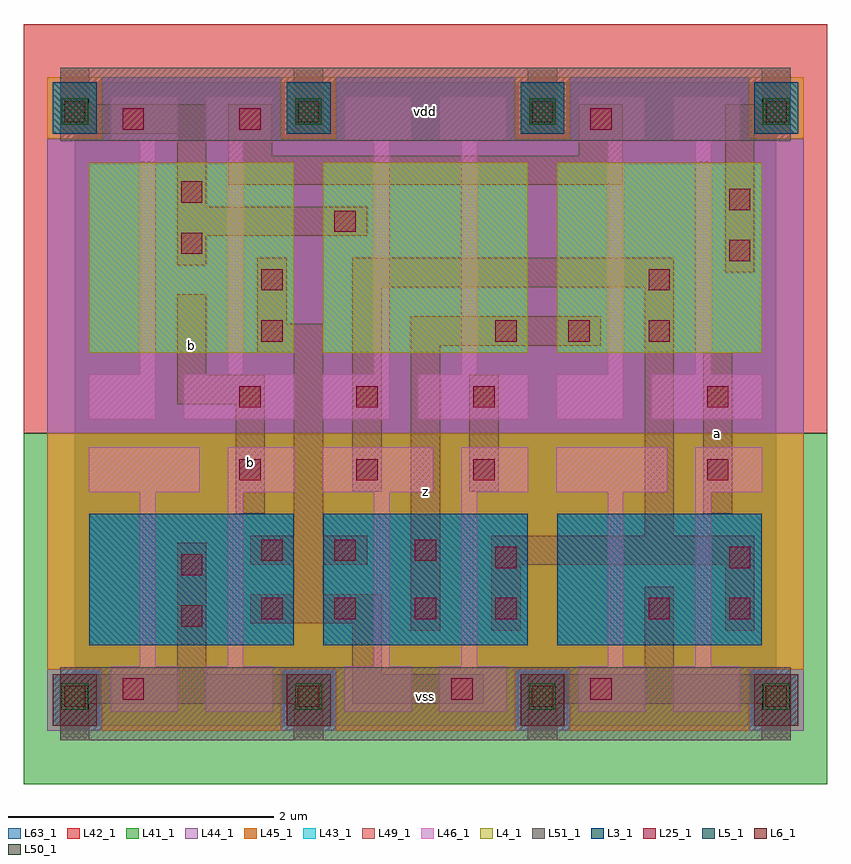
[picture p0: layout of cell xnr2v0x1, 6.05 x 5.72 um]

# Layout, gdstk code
import gdstk
lib = gdstk.Library(unit=1e-6, precision=1e-09)
def R(c, l, rs):  # rectangles x0, y0, x1, y1
    for r in rs: c.add(gdstk.rectangle(r[:2], r[2:], *l))
def A(c, l, x, y, w, h, nx, ny, dx, dy):  # array of equal rectangles
    R(c, l, [(x+i*dx, y+j*dy, x+i*dx+w, y+j*dy+h) for i in range(nx) for j in range(ny)])
L3_1 = (3, 1)
L4_1 = (4, 1)
L5_1 = (5, 1)
L6_1 = (6, 1)
L25_1 = (25, 1)
L41_1 = (41, 1)
L42_1 = (42, 1)
L43_1 = (43, 1)
L44_1 = (44, 1)
L45_1 = (45, 1)
L46_1 = (46, 1)
L49_1 = (49, 1)
L50_1 = (50, 1)
L51_1 = (51, 1)
L63_1 = (63, 1)

xnr2v0x1 = lib.new_cell('xnr2v0x1')
A(xnr2v0x1, L3_1, 0.11, 0.605, 1.54, 0.99, 3, 1, 1.76, 0)
A(xnr2v0x1, L4_1, 0.11, 2.805, 1.54, 1.43, 3, 1, 1.76, 0)
A(xnr2v0x1, L5_1, -0.165, 4.455, 0.33, 0.385, 4, 1, 1.76, 0)
A(xnr2v0x1, L6_1, -0.165, 0, 0.33, 0.385, 4, 1, 1.76, 0)
A(xnr2v0x1, L25_1, -0.08, 0.14, 0.16, 0.16, 4, 2, 1.76, 4.4)
A(xnr2v0x1, L25_1, 1.955, 0.8, 0.16, 0.16, 3, 1, 0.605, 0)
A(xnr2v0x1, L25_1, 1.24, 1.845, 0.16, 0.16, 3, 2, 0.88, 0.55)
R(xnr2v0x1, L25_1, [(0.36,0.195,0.52,0.355), (2.835,0.195,2.995,0.355), (3.88,0.195,4.04,0.355), (0.8,0.745,0.96,0.905), (1.405,0.8,1.565,0.96), (4.32,0.8,4.48,0.96), (4.925,0.8,5.085,0.96), (0.8,1.13,0.96,1.29), (3.165,1.185,3.325,1.345), (4.925,1.185,5.085,1.345), (1.405,1.24,1.565,1.4), (1.955,1.24,2.115,1.4), (2.56,1.24,2.72,1.4), (4.76,1.845,4.92,2.005), (4.76,2.395,4.92,2.555), (1.405,2.89,1.565,3.05), (3.165,2.89,3.325,3.05), (3.715,2.89,3.875,3.05), (4.32,2.89,4.48,3.05), (1.405,3.275,1.565,3.435), (4.32,3.275,4.48,3.435), (4.925,3.495,5.085,3.655), (0.8,3.55,0.96,3.71), (1.955,3.715,2.115,3.875), (4.925,3.88,5.085,4.04), (0.8,3.935,0.96,4.095), (0.36,4.485,0.52,4.645), (1.24,4.485,1.4,4.645), (3.88,4.485,4.04,4.645)])
R(xnr2v0x1, L41_1, [(-0.385,-0.44,5.665,2.2)])
R(xnr2v0x1, L42_1, [(-0.385,2.2,5.665,5.28)])
A(xnr2v0x1, L43_1, -0.165, 0, 0.33, 0.385, 4, 2, 1.76, 4.455)
A(xnr2v0x1, L43_1, 0.11, 0.605, 1.54, 0.99, 3, 1, 1.76, 0)
A(xnr2v0x1, L43_1, 0.11, 2.805, 1.54, 1.43, 3, 1, 1.76, 0)
A(xnr2v0x1, L44_1, -0.205, -0.04, 0.41, 0.465, 4, 1, 1.76, 0)
A(xnr2v0x1, L44_1, 0.205, 4.415, 1.35, 0.465, 3, 1, 1.76, 0)
R(xnr2v0x1, L44_1, [(-0.205,2.2,5.485,4.415)])
A(xnr2v0x1, L45_1, 0.205, -0.04, 1.35, 0.465, 3, 1, 1.76, 0)
A(xnr2v0x1, L45_1, -0.205, 4.415, 0.41, 0.465, 4, 1, 1.76, 0)
R(xnr2v0x1, L45_1, [(-0.205,0.425,5.485,2.2)])
A(xnr2v0x1, L46_1, 0.105, 1.755, 0.835, 0.34, 3, 1, 1.76, 0)
A(xnr2v0x1, L46_1, 1.15, 1.755, 0.505, 0.34, 3, 1, 1.76, 0)
A(xnr2v0x1, L46_1, 0.105, 2.305, 0.505, 0.34, 3, 1, 1.76, 0)
A(xnr2v0x1, L46_1, 0.82, 2.305, 0.835, 0.34, 3, 1, 1.76, 0)
R(xnr2v0x1, L46_1, [(0.27,0.105,0.775,0.445), (0.985,0.105,1.49,0.445), (2.03,0.105,2.535,0.445), (2.745,0.105,3.25,0.445), (3.79,0.105,4.295,0.445), (4.505,0.105,5.01,0.445), (0.49,0.445,0.61,1.755), (1.15,0.445,1.27,1.755), (2.25,0.445,2.37,1.755), (2.91,0.445,3.03,1.755), (4.01,0.445,4.13,1.755), (4.67,0.445,4.79,1.755), (0.49,2.645,0.61,4.395), (1.15,2.645,1.27,4.395), (2.25,2.645,2.37,4.395), (2.91,2.645,3.03,4.395), (4.01,2.645,4.13,4.395), (4.67,2.645,4.79,4.395), (0.27,4.395,0.775,4.735), (0.985,4.395,1.49,4.735), (2.03,4.395,2.535,4.735), (2.745,4.395,3.25,4.735), (3.79,4.395,4.295,4.735), (4.505,4.395,5.01,4.735)])
A(xnr2v0x1, L49_1, -0.11, -0.11, 0.22, 0.275, 4, 1, 1.76, 0)
R(xnr2v0x1, L49_1, [(-0.11,0.165,1.87,0.385), (2.09,0.165,3.08,0.385), (3.41,0.165,5.39,0.385), (0.77,0.385,0.99,1.375), (2.09,0.385,2.31,0.77), (4.29,0.385,4.51,1.045), (2.53,0.715,2.75,2.86), (3.135,0.715,3.355,1.21), (4.895,0.715,5.115,1.21), (1.32,0.77,2.31,0.99), (1.65,0.99,1.87,1.21), (1.32,1.21,2.2,1.43), (3.135,1.21,5.115,1.43), (1.65,1.43,1.87,2.805), (4.29,1.43,4.51,3.3), (1.21,1.595,1.43,2.42), (4.73,1.595,4.95,2.805), (2.09,1.76,2.31,3.3), (2.97,1.76,3.19,2.64), (0.77,2.42,1.43,2.64), (0.77,2.64,0.99,3.245), (1.375,2.805,1.87,3.025), (2.53,2.86,3.96,3.08), (1.375,3.025,1.595,3.52), (2.09,3.3,4.51,3.52), (4.895,3.41,5.115,4.455), (0.77,3.465,0.99,3.685), (0.77,3.685,2.2,3.905), (0.77,3.905,0.99,4.455), (1.155,4.07,4.125,4.29), (1.155,4.29,1.485,4.675), (3.795,4.29,4.125,4.675), (-0.11,4.455,0.99,4.675), (1.65,4.455,1.87,4.95), (3.41,4.455,3.63,4.95), (4.895,4.455,5.39,4.675), (-0.11,4.675,0.11,4.95), (5.17,4.675,5.39,4.95)])
A(xnr2v0x1, L50_1, -0.1, 0.12, 0.2, 0.2, 4, 2, 1.76, 4.4)
R(xnr2v0x1, L51_1, [(-0.11,-0.11,5.39,0.44), (-0.11,4.4,5.39,4.95)])
R(xnr2v0x1, L63_1, [(0,0,5.28,4.84)])
xnr2v0x1.add(gdstk.Label('b', (1.32,1.98), layer=49, texttype=1))
xnr2v0x1.add(gdstk.Label('b', (0.88,2.86), layer=49, texttype=1))
xnr2v0x1.add(gdstk.Label('z', (2.64,1.76), layer=49, texttype=1))
xnr2v0x1.add(gdstk.Label('a', (4.84,2.2), layer=49, texttype=1))
xnr2v0x1.add(gdstk.Label('vss', (2.64,0.22), layer=51, texttype=1))
xnr2v0x1.add(gdstk.Label('vdd', (2.64,4.62), layer=51, texttype=1))

lib.write_gds('xnr2v0x1.gds')
